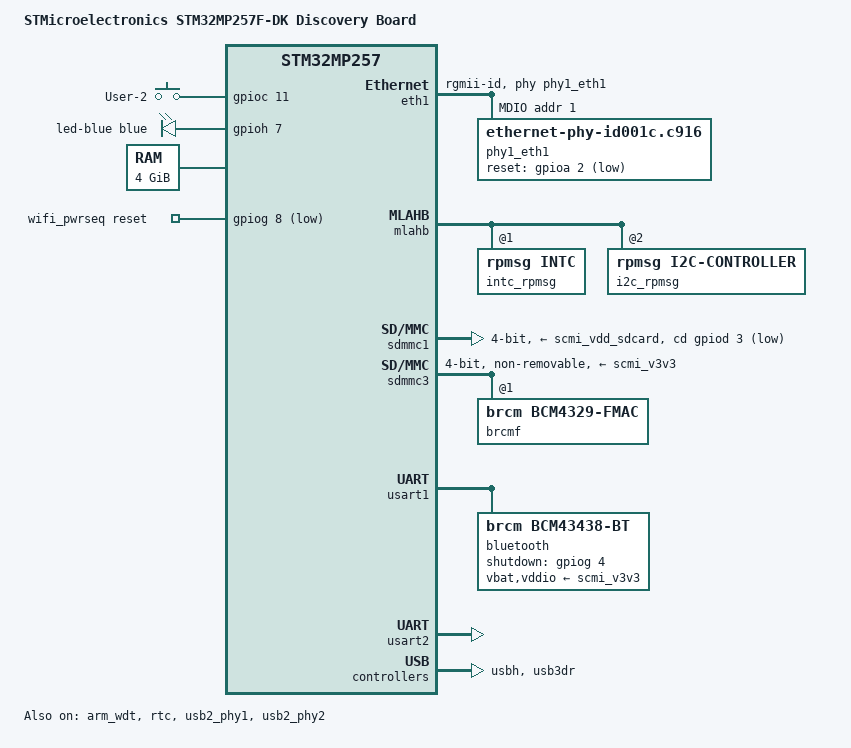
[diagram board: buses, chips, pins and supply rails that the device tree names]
// SPDX-License-Identifier: (GPL-2.0-or-later OR BSD-3-Clause)
/*
 * Copyright (C) STMicroelectronics 2023 - All Rights Reserved
 * Author: Alexandre Torgue <alexandre.torgue@foss.st.com> for STMicroelectronics.
 */

/dts-v1/;

#include <dt-bindings/gpio/gpio.h>
#include <dt-bindings/input/input.h>
#include <dt-bindings/leds/common.h>
#include <dt-bindings/rtc/rtc-stm32.h>
#include "stm32mp257.dtsi"
#include "stm32mp25xf.dtsi"
#include "stm32mp25-pinctrl.dtsi"
#include "stm32mp25xxak-pinctrl.dtsi"
#include "stm32mp257f-dk-ca35tdcid-resmem.dtsi"

/ {
	model = "STMicroelectronics STM32MP257F-DK Discovery Board";
	compatible = "st,stm32mp257f-dk", "st,stm32mp257";

	aliases {
		serial0 = &usart2;
		serial1 = &usart6;
		serial2 = &usart1;
		ethernet0 = &eth1;
	};

	chosen {
		stdout-path = "serial0:115200n8";
	};

	gpio-keys {
		compatible = "gpio-keys";

		button-user-2 {
			label = "User-2";
			linux,code = <BTN_2>;
			gpios = <&gpioc 11 GPIO_ACTIVE_HIGH>;
			status = "okay";
		};
	};

	gpio-leds {
		compatible = "gpio-leds";

		led-blue {
			function = LED_FUNCTION_HEARTBEAT;
			color = <LED_COLOR_ID_BLUE>;
			gpios = <&gpioh 7 GPIO_ACTIVE_HIGH>;
			linux,default-trigger = "heartbeat";
			default-state = "off";
		};
	};

	memory@80000000 {
		device_type = "memory";
		reg = <0x0 0x80000000 0x1 0x0>;
	};

	wifi_pwrseq: wifi-pwrseq {
		compatible = "mmc-pwrseq-simple";
		reset-gpios = <&gpiog 8 GPIO_ACTIVE_LOW>;
	};
};

&arm_wdt {
	timeout-sec = <32>;
	status = "okay";
};

&eth1 {
	status = "okay";
	pinctrl-0 = <&eth1_rgmii_pins_b>;
	pinctrl-names = "default";
	phy-mode = "rgmii-id";
	max-speed = <1000>;
	phy-handle = <&phy1_eth1>;
	st,eth-ptp-from-rcc;

	mdio1 {
		#address-cells = <1>;
		#size-cells = <0>;
		compatible = "snps,dwmac-mdio";
		phy1_eth1: ethernet-phy@1 {
			compatible = "ethernet-phy-id001c.c916";
			reset-gpios =  <&gpioa 2 GPIO_ACTIVE_LOW>;
			reset-assert-us = <10000>;
			reset-deassert-us = <300>;
			realtek,eee-disable;
			reg = <1>;
		};
	};
};

&mlahb {
	intc_rpmsg: interrupt-controller@1 {
		compatible = "rpmsg,intc";
		reg = <1 0>;
		#interrupt-cells = <1>;
		interrupt-controller;
	};

	i2c_rpmsg: i2c@2 {
		compatible = "rpmsg,i2c-controller";
		reg = <2 0>;
		rpmsg,dev-id = "rpmsg_i2c";
		#address-cells = <1>;
		#size-cells = <0>;
		status = "okay";
	};
};

&rtc {
	st,lsco = <RTC_OUT2_RMP>;
	pinctrl-0 = <&rtc_out2_rmp_pins_a>;
	pinctrl-names = "default";
	status = "okay";
};

&scmi_regu {
	scmi_vddio1: regulator@0 {
		regulator-min-microvolt = <1800000>;
		regulator-max-microvolt = <3300000>;
	};
	scmi_v1v8: regulator@14  {
		reg = <VOLTD_SCMI_STPMIC2_BUCK5>;
		regulator-name = "v1v8";
	};
	scmi_v3v3: regulator@16 {
		reg = <VOLTD_SCMI_STPMIC2_BUCK7>;
		regulator-name = "v3v3";
	};
	scmi_vdd_emmc: regulator@18 {
		reg = <VOLTD_SCMI_STPMIC2_LDO2>;
		regulator-name = "vdd_emmc";
	};
	scmi_v5v_hdmi: regulator@21 {
		reg = <VOLTD_SCMI_STPMIC2_LDO5>;
		regulator-name = "v5v_hdmi";
	};
	scmi_v5v_vconn: regulator@22 {
		reg = <VOLTD_SCMI_STPMIC2_LDO6>;
		regulator-name = "v5v_vconn";
	};
	scmi_vdd_sdcard: regulator@23 {
		reg = <VOLTD_SCMI_STPMIC2_LDO7>;
		regulator-name = "vdd_sdcard";
	};
};

&sdmmc1 {
	pinctrl-names = "default", "opendrain", "sleep";
	pinctrl-0 = <&sdmmc1_b4_pins_a>;
	pinctrl-1 = <&sdmmc1_b4_od_pins_a>;
	pinctrl-2 = <&sdmmc1_b4_sleep_pins_a>;
	cd-gpios = <&gpiod 3 (GPIO_ACTIVE_LOW | GPIO_PULL_UP)>;
	disable-wp;
	st,neg-edge;
	bus-width = <4>;
	vmmc-supply = <&scmi_vdd_sdcard>;
	vqmmc-supply = <&scmi_vddio1>;
	status = "okay";
};

/* Wifi */
&sdmmc3 {
	pinctrl-names = "default", "opendrain", "sleep";
	pinctrl-0 = <&sdmmc3_b4_pins_a>;
	pinctrl-1 = <&sdmmc3_b4_od_pins_a>;
	pinctrl-2 = <&sdmmc3_b4_sleep_pins_a>;
	non-removable;
	st,neg-edge;
	bus-width = <4>;
	vmmc-supply = <&scmi_v3v3>;
	mmc-pwrseq = <&wifi_pwrseq>;
	cap-sdio-irq;
	#address-cells = <1>;
	#size-cells = <0>;
	status = "okay";

	brcmf: bcrmf@1 {
		reg = <1>;
		compatible = "brcm,bcm4329-fmac";
	};
};

/* Bluetooth */
&usart1 {
	pinctrl-names = "default", "sleep", "idle";
	pinctrl-0 = <&usart1_pins_a>;
	pinctrl-1 = <&usart1_sleep_pins_a>;
	pinctrl-2 = <&usart1_idle_pins_a>;
	uart-has-rtscts;
	status = "okay";

	bluetooth {
		shutdown-gpios = <&gpiog 4 GPIO_ACTIVE_HIGH>;
		compatible = "brcm,bcm43438-bt";
		max-speed = <3000000>;
		vbat-supply = <&scmi_v3v3>;
		vddio-supply = <&scmi_v3v3>;
	};
};

&usart2 {
	pinctrl-names = "default", "idle", "sleep";
	pinctrl-0 = <&usart2_pins_a>;
	pinctrl-1 = <&usart2_idle_pins_a>;
	pinctrl-2 = <&usart2_sleep_pins_a>;
	/delete-property/dmas;
	/delete-property/dma-names;
	status = "okay";
};

&usart6 {
	pinctrl-names = "default", "idle", "sleep";
	pinctrl-0 = <&usart6_pins_a>;
	pinctrl-1 = <&usart6_idle_pins_a>;
	pinctrl-2 = <&usart6_sleep_pins_a>;
	uart-has-rtscts;
	status = "disabled";
};

&usb2_phy1 {
	status = "okay";
};

&usb2_phy2 {
	status = "okay";
};

&usbh {
	status = "okay";

	usbh_ohci: usb@482e0000 {
		status = "disabled";
	};
};

&usb3dr {
	status = "okay";

	dwc3: usb@48300000 {
		maximum-speed = "high-speed";
		role-switch-default-mode = "peripheral";
		usb-role-switch;
	};
};
